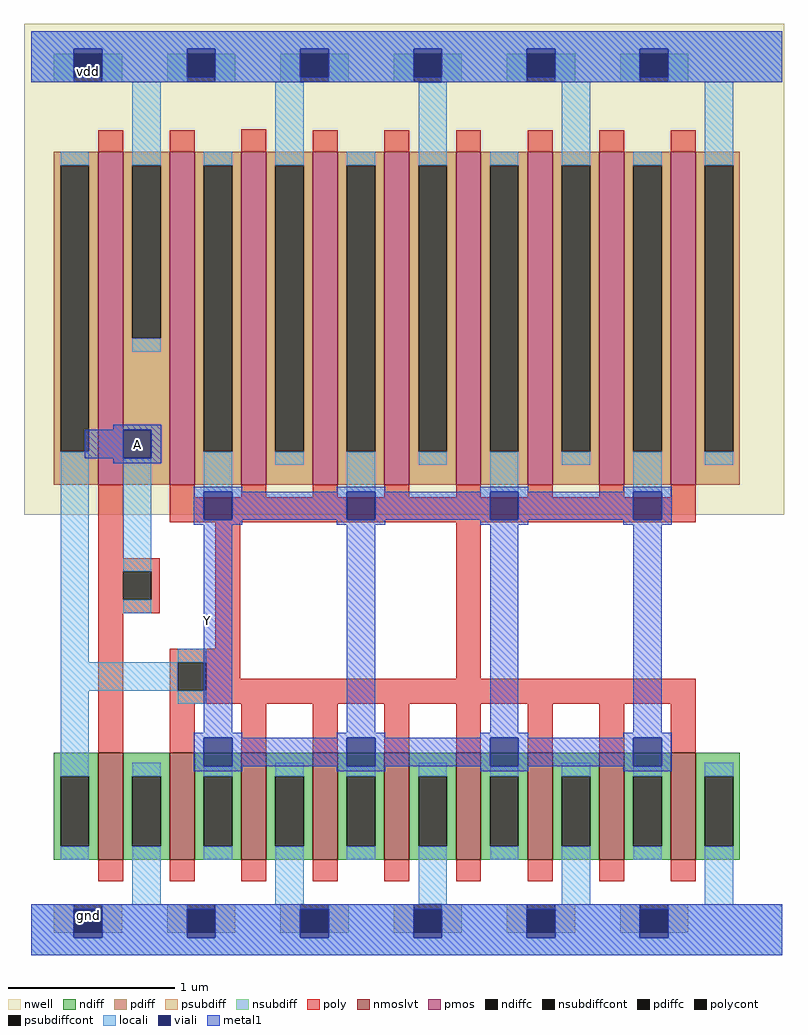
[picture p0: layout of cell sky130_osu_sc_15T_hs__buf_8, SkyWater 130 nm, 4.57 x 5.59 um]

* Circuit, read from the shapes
.subckt sky130_osu_sc_15T_hs__buf_8 A Y
XM1 gnd A n1 gnd sky130_fd_pr__nfet_01v8_lvt w=0.64 l=0.15
XM2 Y n1 gnd gnd sky130_fd_pr__nfet_01v8_lvt w=0.64 l=0.15 m=8
XM3 vdd A n1 vdd sky130_fd_pr__pfet_01v8 w=2 l=0.15
XM4 Y n1 vdd vdd sky130_fd_pr__pfet_01v8 w=2 l=0.15 m=8
.ends

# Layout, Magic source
magic
tech sky130A
magscale 1 2
<< nwell >>
rect -9 529 904 1119
<< nmoslvt >>
rect 80 115 110 243
rect 166 115 196 243
rect 252 115 282 243
rect 338 115 368 243
rect 424 115 454 243
rect 510 115 540 243
rect 596 115 626 243
rect 682 115 712 243
rect 768 115 798 243
<< pmos >>
rect 80 565 110 965
rect 166 565 196 965
rect 252 565 282 965
rect 338 565 368 965
rect 424 565 454 965
rect 510 565 540 965
rect 596 565 626 965
rect 682 565 712 965
rect 768 565 798 965
<< ndiff >>
rect 27 215 80 243
rect 27 131 35 215
rect 69 131 80 215
rect 27 115 80 131
rect 110 215 166 243
rect 110 131 121 215
rect 155 131 166 215
rect 110 115 166 131
rect 196 215 252 243
rect 196 131 207 215
rect 241 131 252 215
rect 196 115 252 131
rect 282 215 338 243
rect 282 131 293 215
rect 327 131 338 215
rect 282 115 338 131
rect 368 215 424 243
rect 368 131 379 215
rect 413 131 424 215
rect 368 115 424 131
rect 454 215 510 243
rect 454 131 465 215
rect 499 131 510 215
rect 454 115 510 131
rect 540 215 596 243
rect 540 131 551 215
rect 585 131 596 215
rect 540 115 596 131
rect 626 215 682 243
rect 626 131 637 215
rect 671 131 682 215
rect 626 115 682 131
rect 712 215 768 243
rect 712 131 723 215
rect 757 131 768 215
rect 712 115 768 131
rect 798 215 851 243
rect 798 131 809 215
rect 843 131 851 215
rect 798 115 851 131
<< pdiff >>
rect 27 949 80 965
rect 27 605 35 949
rect 69 605 80 949
rect 27 565 80 605
rect 110 949 166 965
rect 110 741 121 949
rect 155 741 166 949
rect 110 565 166 741
rect 196 949 252 965
rect 196 605 207 949
rect 241 605 252 949
rect 196 565 252 605
rect 282 949 338 965
rect 282 605 293 949
rect 327 605 338 949
rect 282 565 338 605
rect 368 949 424 965
rect 368 605 379 949
rect 413 605 424 949
rect 368 565 424 605
rect 454 949 510 965
rect 454 605 465 949
rect 499 605 510 949
rect 454 565 510 605
rect 540 949 596 965
rect 540 605 551 949
rect 585 605 596 949
rect 540 565 596 605
rect 626 949 682 965
rect 626 605 637 949
rect 671 605 682 949
rect 626 565 682 605
rect 712 949 768 965
rect 712 605 723 949
rect 757 605 768 949
rect 712 565 768 605
rect 798 949 851 965
rect 798 605 809 949
rect 843 605 851 949
rect 798 565 851 605
<< ndiffc >>
rect 35 131 69 215
rect 121 131 155 215
rect 207 131 241 215
rect 293 131 327 215
rect 379 131 413 215
rect 465 131 499 215
rect 551 131 585 215
rect 637 131 671 215
rect 723 131 757 215
rect 809 131 843 215
<< pdiffc >>
rect 35 605 69 949
rect 121 741 155 949
rect 207 605 241 949
rect 293 605 327 949
rect 379 605 413 949
rect 465 605 499 949
rect 551 605 585 949
rect 637 605 671 949
rect 723 605 757 949
rect 809 605 843 949
<< psubdiff >>
rect 27 27 51 61
rect 85 27 109 61
rect 163 27 187 61
rect 221 27 245 61
rect 299 27 323 61
rect 357 27 381 61
rect 435 27 459 61
rect 493 27 517 61
rect 571 27 595 61
rect 629 27 653 61
rect 707 27 731 61
rect 765 27 789 61
<< nsubdiff >>
rect 27 1049 51 1083
rect 85 1049 109 1083
rect 163 1049 187 1083
rect 221 1049 245 1083
rect 299 1049 323 1083
rect 357 1049 381 1083
rect 435 1049 459 1083
rect 493 1049 517 1083
rect 571 1049 595 1083
rect 629 1049 653 1083
rect 707 1049 731 1083
rect 765 1049 789 1083
<< psubdiffcont >>
rect 51 27 85 61
rect 187 27 221 61
rect 323 27 357 61
rect 459 27 493 61
rect 595 27 629 61
rect 731 27 765 61
<< nsubdiffcont >>
rect 51 1049 85 1083
rect 187 1049 221 1083
rect 323 1049 357 1083
rect 459 1049 493 1083
rect 595 1049 629 1083
rect 731 1049 765 1083
<< poly >>
rect 80 965 110 991
rect 166 965 196 991
rect 252 965 282 992
rect 338 965 368 991
rect 424 965 454 991
rect 510 965 540 991
rect 596 965 626 991
rect 682 965 712 991
rect 768 965 798 991
rect 80 477 110 565
rect 166 550 196 565
rect 252 550 282 565
rect 338 550 368 565
rect 424 550 454 565
rect 510 550 540 565
rect 596 550 626 565
rect 682 550 712 565
rect 768 550 798 565
rect 166 520 798 550
rect 80 461 154 477
rect 80 427 110 461
rect 144 427 154 461
rect 80 411 154 427
rect 80 243 110 411
rect 221 368 251 520
rect 166 352 251 368
rect 166 318 176 352
rect 210 332 251 352
rect 510 332 540 520
rect 210 318 798 332
rect 166 302 798 318
rect 166 243 196 302
rect 252 243 282 302
rect 338 243 368 302
rect 424 243 454 302
rect 510 243 540 302
rect 596 243 626 302
rect 682 243 712 302
rect 768 243 798 302
rect 80 89 110 115
rect 166 89 196 115
rect 252 89 282 115
rect 338 89 368 115
rect 424 89 454 115
rect 510 89 540 115
rect 596 89 626 115
rect 682 89 712 115
rect 768 89 798 115
<< polycont >>
rect 110 427 144 461
rect 176 318 210 352
<< locali >>
rect 0 1089 902 1110
rect 0 1049 51 1089
rect 85 1049 187 1089
rect 221 1049 323 1089
rect 357 1049 459 1089
rect 493 1049 595 1089
rect 629 1049 731 1089
rect 765 1049 902 1089
rect 35 949 69 965
rect 121 949 155 1049
rect 121 725 155 741
rect 207 949 241 965
rect 35 352 69 605
rect 110 461 144 597
rect 207 557 241 605
rect 293 949 327 1049
rect 293 589 327 605
rect 379 949 413 965
rect 379 557 413 605
rect 465 949 499 1049
rect 465 589 499 605
rect 551 949 585 965
rect 551 557 585 605
rect 637 949 671 1049
rect 637 589 671 605
rect 723 949 757 965
rect 723 557 757 605
rect 809 949 843 1049
rect 809 589 843 605
rect 110 411 144 427
rect 176 352 210 368
rect 35 318 176 352
rect 35 215 69 318
rect 176 302 210 318
rect 35 115 69 131
rect 121 215 155 231
rect 121 61 155 131
rect 207 215 241 227
rect 207 115 241 131
rect 293 215 327 231
rect 293 61 327 131
rect 379 215 413 227
rect 379 115 413 131
rect 465 215 499 231
rect 465 61 499 131
rect 551 215 585 227
rect 551 115 585 131
rect 637 215 671 231
rect 637 61 671 131
rect 723 215 757 227
rect 723 115 757 131
rect 809 215 843 231
rect 809 61 843 131
rect 0 21 51 61
rect 85 21 187 61
rect 221 21 323 61
rect 357 21 459 61
rect 493 21 595 61
rect 629 21 731 61
rect 765 21 902 61
rect 0 0 902 21
<< viali >>
rect 51 1083 85 1089
rect 51 1055 85 1083
rect 187 1083 221 1089
rect 187 1055 221 1083
rect 323 1083 357 1089
rect 323 1055 357 1083
rect 459 1083 493 1089
rect 459 1055 493 1083
rect 595 1083 629 1089
rect 595 1055 629 1083
rect 731 1083 765 1089
rect 731 1055 765 1083
rect 110 597 144 631
rect 207 523 241 557
rect 379 523 413 557
rect 551 523 585 557
rect 723 523 757 557
rect 207 227 241 261
rect 379 227 413 261
rect 551 227 585 261
rect 723 227 757 261
rect 51 27 85 55
rect 51 21 85 27
rect 187 27 221 55
rect 187 21 221 27
rect 323 27 357 55
rect 323 21 357 27
rect 459 27 493 55
rect 459 21 493 27
rect 595 27 629 55
rect 595 21 629 27
rect 731 27 765 55
rect 731 21 765 27
<< metal1 >>
rect 0 1089 902 1110
rect 0 1055 51 1089
rect 85 1055 187 1089
rect 221 1055 323 1089
rect 357 1055 459 1089
rect 493 1055 595 1089
rect 629 1055 731 1089
rect 765 1055 902 1089
rect 0 1049 902 1055
rect 98 631 156 637
rect 64 597 110 631
rect 144 597 156 631
rect 98 591 156 597
rect 195 557 253 563
rect 367 557 425 563
rect 539 557 597 563
rect 711 557 769 563
rect 195 523 207 557
rect 241 523 379 557
rect 413 523 551 557
rect 585 523 723 557
rect 757 523 769 557
rect 195 517 253 523
rect 367 517 425 523
rect 539 517 597 523
rect 711 517 769 523
rect 207 267 241 517
rect 379 267 413 517
rect 551 267 585 517
rect 723 267 757 517
rect 195 261 253 267
rect 367 261 425 267
rect 539 261 597 267
rect 711 261 769 267
rect 195 227 207 261
rect 241 227 379 261
rect 413 227 551 261
rect 585 227 723 261
rect 757 227 769 261
rect 195 221 253 227
rect 367 221 425 227
rect 539 221 597 227
rect 711 221 769 227
rect 0 55 902 61
rect 0 21 51 55
rect 85 21 187 55
rect 221 21 323 55
rect 357 21 459 55
rect 493 21 595 55
rect 629 21 731 55
rect 765 21 902 55
rect 0 0 902 21
<< labels >>
rlabel viali 127 614 127 614 1 A
port 1 n
rlabel metal1 211 402 211 402 1 Y
port 2 n
rlabel viali 68 48 68 48 1 gnd
rlabel viali 68 1062 68 1062 1 vdd
<< end >>
